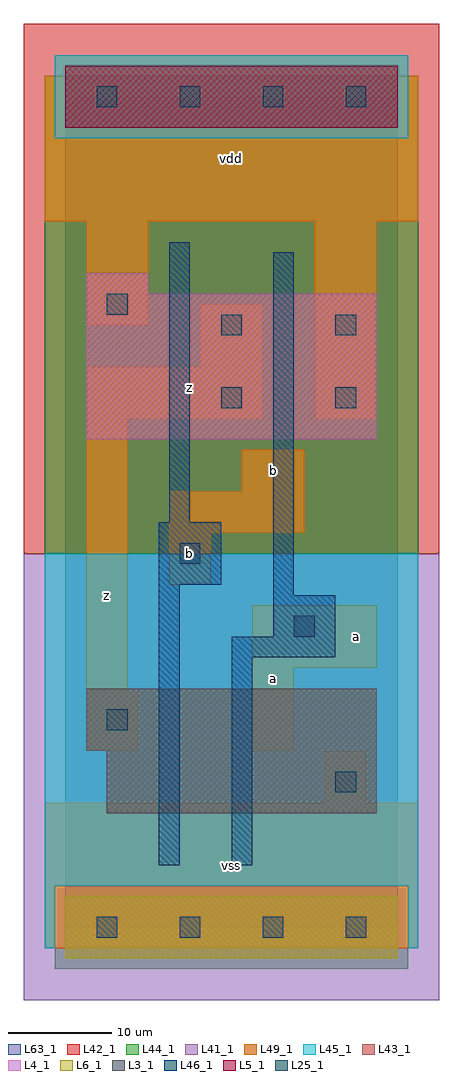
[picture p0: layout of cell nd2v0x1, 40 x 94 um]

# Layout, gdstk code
import gdstk
lib = gdstk.Library(unit=1e-6, precision=1e-09)
def R(c, l, rs):  # rectangles x0, y0, x1, y1
    for r in rs: c.add(gdstk.rectangle(r[:2], r[2:], *l))
def A(c, l, x, y, w, h, nx, ny, dx, dy):  # array of equal rectangles
    R(c, l, [(x+i*dx, y+j*dy, x+i*dx+w, y+j*dy+h) for i in range(nx) for j in range(ny)])
L3_1 = (3, 1)
L4_1 = (4, 1)
L5_1 = (5, 1)
L6_1 = (6, 1)
L25_1 = (25, 1)
L41_1 = (41, 1)
L42_1 = (42, 1)
L43_1 = (43, 1)
L44_1 = (44, 1)
L45_1 = (45, 1)
L46_1 = (46, 1)
L49_1 = (49, 1)
L63_1 = (63, 1)

nd2v0x1 = lib.new_cell('nd2v0x1')
R(nd2v0x1, L3_1, [(4,11,30,17), (2,17,30,23)])
R(nd2v0x1, L4_1, [(2,47,30,61), (2,61,8,63)])
R(nd2v0x1, L5_1, [(0,77,32,83)])
R(nd2v0x1, L6_1, [(0,-3,32,3), (0,-3,32,3)])
A(nd2v0x1, L25_1, 3, -1, 2, 2, 4, 2, 8, 80)
R(nd2v0x1, L25_1, [(26,13,28,15), (4,19,6,21), (22,28,24,30), (11,35,13,37), (15,50,17,52), (26,50,28,52), (15,57,17,59), (26,57,28,59), (4,59,6,61)])
R(nd2v0x1, L41_1, [(-4,-7,36,36)])
R(nd2v0x1, L42_1, [(-4,36,36,87)])
R(nd2v0x1, L43_1, [(0,-3,32,3), (4,11,30,17), (2,17,30,23), (2,47,30,61), (2,61,8,63), (0,77,32,83)])
R(nd2v0x1, L44_1, [(-1,-4,33,4), (-2,36,34,76), (-2,76,-1,82), (33,76,34,82)])
R(nd2v0x1, L45_1, [(-2,-2,-1,4), (33,-2,34,4), (-2,4,34,36), (-1,76,33,84)])
R(nd2v0x1, L46_1, [(9,6,11,33), (16,6,18,26), (16,26,26,28), (20,28,26,32), (20,32,22,65), (9,33,15,39), (10,39,12,66)])
R(nd2v0x1, L49_1, [(-2,-2,34,12), (25,12,29,17), (2,17,7,23), (18,17,22,25), (2,23,6,49), (18,25,30,31), (10,33,14,38), (10,38,23,42), (17,42,23,46), (2,49,19,54), (24,49,30,68), (13,54,19,60), (2,58,8,68), (-2,68,34,82)])
R(nd2v0x1, L63_1, [(0,0,32,80)])
nd2v0x1.add(gdstk.Label('z', (4,32), layer=49, texttype=1))
nd2v0x1.add(gdstk.Label('b', (12,36), layer=49, texttype=1))
nd2v0x1.add(gdstk.Label('z', (12,52), layer=49, texttype=1))
nd2v0x1.add(gdstk.Label('vss', (16,6), layer=49, texttype=1))
nd2v0x1.add(gdstk.Label('a', (20,24), layer=49, texttype=1))
nd2v0x1.add(gdstk.Label('b', (20,44), layer=49, texttype=1))
nd2v0x1.add(gdstk.Label('vdd', (16,74), layer=49, texttype=1))
nd2v0x1.add(gdstk.Label('a', (28,28), layer=49, texttype=1))

lib.write_gds('nd2v0x1.gds')
